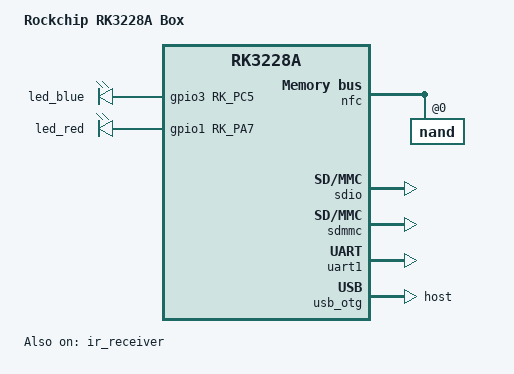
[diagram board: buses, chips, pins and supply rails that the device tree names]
// SPDX-License-Identifier: (GPL-2.0+ OR MIT)

/dts-v1/;
#include "rk3228a-box.dtsi"

/ {
	model = "Rockchip RK3228A Box";

	leds {
		compatible = "gpio-leds";

		led_blue {
			gpios = <&gpio3 RK_PC5 GPIO_ACTIVE_HIGH>;
			default-state = "on";
		};

		led_red {
			gpios = <&gpio1 RK_PA7 GPIO_ACTIVE_HIGH>;
			default-state = "off";
		};
	};

};

&ir_receiver {
	status = "okay";
};

&nfc {
	#address-cells = <1>;
	#size-cells = <0>;
	status = "okay";

	nand@0 {
		reg = <0>;
		nand-ecc-mode = "hw";
		nand-ecc-strength = <60>;
		nand-ecc-step-size = <1024>;
		nand-bus-width = <8>;
	};
};

&sdio {
	status = "okay";
};

&sdmmc {
	status = "okay";
};

&uart1 {
	status = "okay";
};

&usb_otg {
        dr_mode = "host";
};
